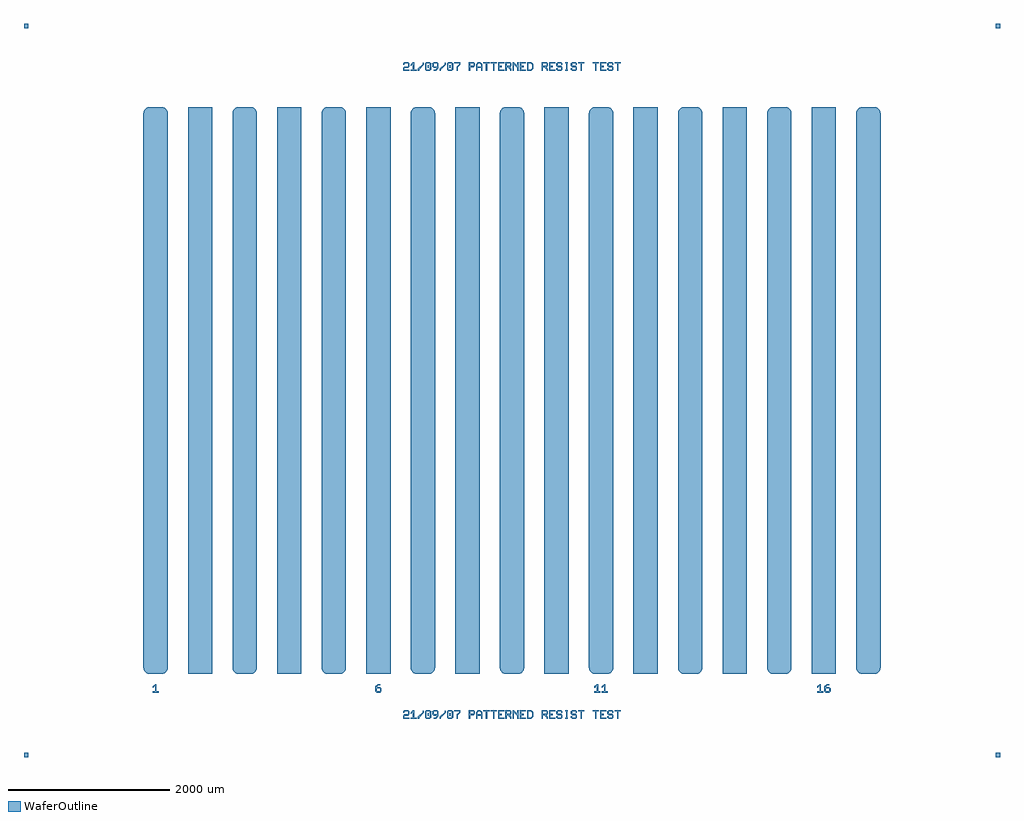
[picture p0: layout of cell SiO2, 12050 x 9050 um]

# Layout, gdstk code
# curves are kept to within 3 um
import gdstk
lib = gdstk.Library(unit=1e-6, precision=1e-09)
def R(c, l, rs):  # rectangles x0, y0, x1, y1
    for r in rs: c.add(gdstk.rectangle(r[:2], r[2:], *l))
def P(c, l, *ps):  # polygons
    for p in ps: c.add(gdstk.Polygon(p, *l))
WaferOutline = (1, 0)

c_50umsquare = lib.new_cell('50umSquare')
R(c_50umsquare, WaferOutline, [(-25,-25,25,25)])

testpatternrounded = lib.new_cell('TestPatternRounded')
P(testpatternrounded, WaferOutline, [(-73.93,-3500),(-96.984,-3495.414),(-123.79,-3479.348),(-142.406,-3454.246),(-150,-3423.93),(-150,3423.93),(-145.414,3446.984),(-134.334,3467.713),(-117.713,3484.334),(-96.984,3495.414),(-73.93,3500),(73.93,3500),(96.984,3495.414),(123.79,3479.348),(142.406,3454.246),(150,3423.93),(150,-3423.93),(145.414,-3446.984),(134.334,-3467.713),(117.713,-3484.334),(96.984,-3495.414),(73.93,-3500)])

testpatternsquare = lib.new_cell('TestPatternSquare')
R(testpatternsquare, WaferOutline, [(-150,-3500,150,3500)])

text = lib.new_cell('TEXT')
R(text, WaferOutline, [(2,0.25,2.1,0.45), (3.8,0.25,3.9,0.45)])
P(text, WaferOutline, [(0,0),(0,0.25),(0.1,0.35),(0.35,0.35),(0.4,0.4),(0.4,0.55),(0.35,0.6),(0.15,0.6),(0.1,0.55),(0.1,0.5),(0,0.5),(0,0.6),(0.1,0.7),(0.4,0.7),(0.5,0.6),(0.5,0.35),(0.4,0.25),(0.15,0.25),(0.1,0.2),(0.1,0.1),(0.5,0.1),(0.5,0)],
  [(0.6,0),(0.6,0.1),(0.8,0.1),(0.8,0.5),(0.75,0.5),(0.65,0.4),(0.6,0.4),(0.6,0.5),(0.8,0.7),(0.9,0.7),(0.9,0.1),(1.1,0.1),(1.1,0)],
  [(1.2,0),(1.2,0.15),(1.6,0.55),(1.6,0.65),(1.7,0.65),(1.7,0.5),(1.3,0.1),(1.3,0)],
  [(1.9,0),(1.8,0.1),(1.8,0.6),(1.9,0.7),(2.2,0.7),(2.3,0.6),(1.95,0.6),(1.9,0.55),(1.9,0.15),(1.95,0.1),(2.15,0.1),(2.2,0.15),(2.2,0.55),(2.15,0.6),(2.3,0.6),(2.3,0.1),(2.2,0)],
  [(2.5,0),(2.5,0.1),(2.65,0.1),(2.75,0.2),(2.75,0.25),(2.5,0.25),(2.4,0.35),(2.75,0.35),(2.8,0.4),(2.8,0.55),(2.75,0.6),(2.55,0.6),(2.5,0.55),(2.5,0.4),(2.55,0.35),(2.4,0.35),(2.4,0.6),(2.5,0.7),(2.8,0.7),(2.9,0.6),(2.9,0.2),(2.7,0)],
  [(3,0),(3,0.15),(3.4,0.55),(3.4,0.65),(3.5,0.65),(3.5,0.5),(3.1,0.1),(3.1,0)],
  [(3.7,0),(3.6,0.1),(3.6,0.6),(3.7,0.7),(4,0.7),(4.1,0.6),(3.75,0.6),(3.7,0.55),(3.7,0.15),(3.75,0.1),(3.95,0.1),(4,0.15),(4,0.55),(3.95,0.6),(4.1,0.6),(4.1,0.1),(4,0)],
  [(4.4,0),(4.4,0.35),(4.6,0.55),(4.6,0.6),(4.2,0.6),(4.2,0.7),(4.7,0.7),(4.7,0.5),(4.5,0.3),(4.5,0)],
  [(5.4,0),(5.4,0.7),(5.8,0.7),(5.9,0.6),(5.9,0.4),(5.8,0.3),(5.5,0.3),(5.5,0.4),(5.75,0.4),(5.8,0.45),(5.8,0.55),(5.75,0.6),(5.5,0.6),(5.5,0)],
  [(6,0),(6,0.55),(6.15,0.7),(6.35,0.7),(6.45,0.6),(6.2,0.6),(6.1,0.5),(6.1,0.35),(6.4,0.35),(6.4,0.5),(6.3,0.6),(6.45,0.6),(6.5,0.55),(6.5,0),(6.4,0),(6.4,0.25),(6.1,0.25),(6.1,0)],
  [(6.8,0),(6.8,0.6),(6.6,0.6),(6.6,0.7),(7.1,0.7),(7.1,0.6),(6.9,0.6),(6.9,0)],
  [(7.4,0),(7.4,0.6),(7.2,0.6),(7.2,0.7),(7.7,0.7),(7.7,0.6),(7.5,0.6),(7.5,0)],
  [(7.8,0),(7.8,0.7),(8.3,0.7),(8.3,0.6),(7.9,0.6),(7.9,0.4),(8.1,0.4),(8.1,0.3),(7.9,0.3),(7.9,0.1),(8.3,0.1),(8.3,0)],
  [(8.4,0),(8.4,0.7),(8.8,0.7),(8.9,0.6),(8.5,0.6),(8.5,0.4),(8.75,0.4),(8.8,0.45),(8.8,0.55),(8.75,0.6),(8.9,0.6),(8.9,0.4),(8.8,0.3),(8.8,0.25),(8.9,0.15),(8.9,0),(8.8,0),(8.8,0.1),(8.6,0.3),(8.5,0.3),(8.5,0)],
  [(9,0),(9,0.7),(9.1,0.7),(9.35,0.45),(9.4,0.45),(9.4,0.7),(9.5,0.7),(9.5,0),(9.4,0),(9.4,0.25),(9.15,0.5),(9.1,0.5),(9.1,0)],
  [(9.6,0),(9.6,0.7),(10.1,0.7),(10.1,0.6),(9.7,0.6),(9.7,0.4),(9.9,0.4),(9.9,0.3),(9.7,0.3),(9.7,0.1),(10.1,0.1),(10.1,0)],
  [(10.2,0),(10.2,0.7),(10.55,0.7),(10.65,0.6),(10.3,0.6),(10.3,0.1),(10.5,0.1),(10.6,0.2),(10.6,0.5),(10.5,0.6),(10.65,0.6),(10.7,0.55),(10.7,0.15),(10.55,0)],
  [(11.4,0),(11.4,0.7),(11.8,0.7),(11.9,0.6),(11.5,0.6),(11.5,0.4),(11.75,0.4),(11.8,0.45),(11.8,0.55),(11.75,0.6),(11.9,0.6),(11.9,0.4),(11.8,0.3),(11.8,0.25),(11.9,0.15),(11.9,0),(11.8,0),(11.8,0.1),(11.6,0.3),(11.5,0.3),(11.5,0)],
  [(12,0),(12,0.7),(12.5,0.7),(12.5,0.6),(12.1,0.6),(12.1,0.4),(12.3,0.4),(12.3,0.3),(12.1,0.3),(12.1,0.1),(12.5,0.1),(12.5,0)],
  [(12.7,0),(12.6,0.1),(12.6,0.2),(12.7,0.2),(12.7,0.15),(12.75,0.1),(12.95,0.1),(13,0.15),(13,0.25),(12.95,0.3),(12.7,0.3),(12.6,0.4),(12.6,0.6),(12.7,0.7),(13,0.7),(13.1,0.6),(13.1,0.5),(13,0.5),(13,0.55),(12.95,0.6),(12.75,0.6),(12.7,0.55),(12.7,0.45),(12.75,0.4),(13,0.4),(13.1,0.3),(13.1,0.1),(13,0)],
  [(13.35,0),(13.35,0.1),(13.4,0.1),(13.4,0.6),(13.35,0.6),(13.35,0.7),(13.55,0.7),(13.55,0.6),(13.5,0.6),(13.5,0.1),(13.55,0.1),(13.55,0)],
  [(13.9,0),(13.8,0.1),(13.8,0.2),(13.9,0.2),(13.9,0.15),(13.95,0.1),(14.15,0.1),(14.2,0.15),(14.2,0.25),(14.15,0.3),(13.9,0.3),(13.8,0.4),(13.8,0.6),(13.9,0.7),(14.2,0.7),(14.3,0.6),(14.3,0.5),(14.2,0.5),(14.2,0.55),(14.15,0.6),(13.95,0.6),(13.9,0.55),(13.9,0.45),(13.95,0.4),(14.2,0.4),(14.3,0.3),(14.3,0.1),(14.2,0)],
  [(14.6,0),(14.6,0.6),(14.4,0.6),(14.4,0.7),(14.9,0.7),(14.9,0.6),(14.7,0.6),(14.7,0)],
  [(15.8,0),(15.8,0.6),(15.6,0.6),(15.6,0.7),(16.1,0.7),(16.1,0.6),(15.9,0.6),(15.9,0)],
  [(16.2,0),(16.2,0.7),(16.7,0.7),(16.7,0.6),(16.3,0.6),(16.3,0.4),(16.5,0.4),(16.5,0.3),(16.3,0.3),(16.3,0.1),(16.7,0.1),(16.7,0)],
  [(16.9,0),(16.8,0.1),(16.8,0.2),(16.9,0.2),(16.9,0.15),(16.95,0.1),(17.15,0.1),(17.2,0.15),(17.2,0.25),(17.15,0.3),(16.9,0.3),(16.8,0.4),(16.8,0.6),(16.9,0.7),(17.2,0.7),(17.3,0.6),(17.3,0.5),(17.2,0.5),(17.2,0.55),(17.15,0.6),(16.95,0.6),(16.9,0.55),(16.9,0.45),(16.95,0.4),(17.2,0.4),(17.3,0.3),(17.3,0.1),(17.2,0)],
  [(17.6,0),(17.6,0.6),(17.4,0.6),(17.4,0.7),(17.9,0.7),(17.9,0.6),(17.7,0.6),(17.7,0)])

text_2 = lib.new_cell('TEXT$2')
P(text_2, WaferOutline, [(0,0),(0,0.1),(0.2,0.1),(0.2,0.5),(0.15,0.5),(0.05,0.4),(0,0.4),(0,0.5),(0.2,0.7),(0.3,0.7),(0.3,0.1),(0.5,0.1),(0.5,0)])

text_3 = lib.new_cell('TEXT$3')
P(text_3, WaferOutline, [(0.1,0),(0,0.1),(0,0.5),(0.2,0.7),(0.4,0.7),(0.4,0.6),(0.25,0.6),(0.15,0.5),(0.15,0.45),(0.4,0.45),(0.5,0.35),(0.15,0.35),(0.1,0.3),(0.1,0.15),(0.15,0.1),(0.35,0.1),(0.4,0.15),(0.4,0.3),(0.35,0.35),(0.5,0.35),(0.5,0.1),(0.4,0)])

text_4 = lib.new_cell('TEXT$4')
P(text_4, WaferOutline, [(0,0),(0,0.1),(0.2,0.1),(0.2,0.5),(0.15,0.5),(0.05,0.4),(0,0.4),(0,0.5),(0.2,0.7),(0.3,0.7),(0.3,0.1),(0.5,0.1),(0.5,0)],
  [(0.6,0),(0.6,0.1),(0.8,0.1),(0.8,0.5),(0.75,0.5),(0.65,0.4),(0.6,0.4),(0.6,0.5),(0.8,0.7),(0.9,0.7),(0.9,0.1),(1.1,0.1),(1.1,0)])

text_5 = lib.new_cell('TEXT$5')
P(text_5, WaferOutline, [(0,0),(0,0.1),(0.2,0.1),(0.2,0.5),(0.15,0.5),(0.05,0.4),(0,0.4),(0,0.5),(0.2,0.7),(0.3,0.7),(0.3,0.1),(0.5,0.1),(0.5,0)],
  [(0.7,0),(0.6,0.1),(0.6,0.5),(0.8,0.7),(1,0.7),(1,0.6),(0.85,0.6),(0.75,0.5),(0.75,0.45),(1,0.45),(1.1,0.35),(0.75,0.35),(0.7,0.3),(0.7,0.15),(0.75,0.1),(0.95,0.1),(1,0.15),(1,0.3),(0.95,0.35),(1.1,0.35),(1.1,0.1),(1,0)])

sio2 = lib.new_cell('SiO2')
r = gdstk.Reference(c_50umsquare, (-6000,-4500)); r.repetition = gdstk.Repetition(2, 2, v1=(12000,0), v2=(0,9000)); sio2.add(r)
r = gdstk.Reference(testpatternrounded, (-4400,0)); r.repetition = gdstk.Repetition(9, 1, v1=(1100,0), v2=(0,0)); sio2.add(r)
r = gdstk.Reference(testpatternsquare, (-3850,0)); r.repetition = gdstk.Repetition(8, 1, v1=(1100,0), v2=(0,0)); sio2.add(r)
r = gdstk.Reference(text, (-1342.5,-4052.5), magnification=150); r.repetition = gdstk.Repetition(1, 2, v1=(0,0), v2=(0,8000)); sio2.add(r)
sio2.add(gdstk.Reference(text_2, (-4437.5,-3729.45), magnification=150))
sio2.add(gdstk.Reference(text_3, (-1687.5,-3729.45), magnification=150))
sio2.add(gdstk.Reference(text_4, (1017.5,-3729.45), magnification=150))
sio2.add(gdstk.Reference(text_5, (3767.5,-3729.45), magnification=150))

lib.write_gds('SiO2.gds')
